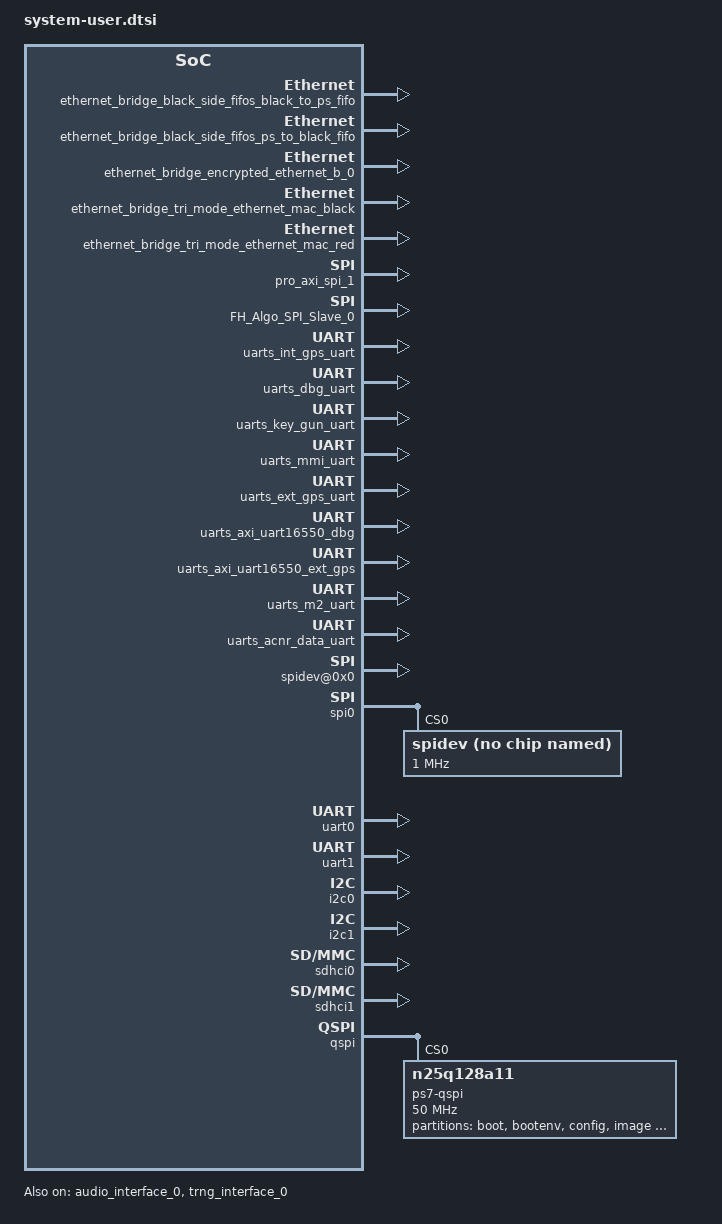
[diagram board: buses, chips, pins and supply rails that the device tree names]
/ {

	chosen {
         	bootargs = "uio_pdrv_genirq.of_id=dmem-uio root=/dev/mmcblk0p2 rw rootwait";
     };

	// generic-uio (for xlnx kernel)
	// for ADI kernel (dmem-uio)

     amba_pl: amba_pl {
			
			audio_interface_0: audio_interface@50000000 {
					compatible = "dmem-uio";
				  	status = "okay";
			};

			ethernet_bridge_black_side_fifos_black_to_ps_fifo: axi_output_fifo_ip@43c00000{
					compatible = "dmem-uio";
					status = "okay";
			};

		       ethernet_bridge_black_side_fifos_ps_to_black_fifo: axi_input_fifo_ip@43c10000 {
			   		compatible = "dmem-uio";
			   		status = "okay";
			};

		       ethernet_bridge_encrypted_ethernet_b_0: encrypted_ethernet_bridge_ip@43c20000 {
					compatible = "dmem-uio";
					status = "okay";
			};

			ethernet_bridge_tri_mode_ethernet_mac_black: tri_mode_ethernet_mac@43c30000 {
					compatible = "dmem-uio";
					interrupts = <0 35 1>;
					status = "okay";
			};

			ethernet_bridge_tri_mode_ethernet_mac_red: tri_mode_ethernet_mac@43c40000 {
					compatible = "dmem-uio";
					interrupts = <0 34 1>;
					status = "okay";
			};
			
			pro_axi_spi_1: pro_axi_spi@48000000 {
					compatible = "dmem-uio";
				  	status = "okay";
			};
			
			/*Clock_and_FH_0: Clock_and_FH@68000000 {
					compatible = "dmem-uio";
				  	status = "okay";
			};*/
			
			FH_Algo_SPI_Slave_0: FH_Algo_SPI_Slave@58000000 {
					compatible = "dmem-uio";
				  	status = "okay";
			};

			trng_interface_0: trng_interface@60000000 {
					compatible = "dmem-uio";
					status = "okay";
			};

			uarts_int_gps_uart: serial@42c00000 {
					interrupts = <0 30 1>;
           				status = "okay";
        		};

			uarts_dbg_uart: serial@42c10000 {
           				status = "okay";
        		};

			uarts_key_gun_uart: serial@42c20000{
					interrupts = <0 29 1>;
           				status = "okay";
        		};
			
			uarts_mmi_uart: serial@42c30000 {
					interrupts = <0 32 1>;
           				status = "okay";
        		};
			
			uarts_ext_gps_uart: serial@42c40000 {
           				status = "okay";
        		};
			
			uarts_axi_uart16550_dbg: serial@43c60000 {
					interrupts = <0 31 4>;
					status = "okay";
			};

			uarts_axi_uart16550_ext_gps: serial@43c50000 {
					interrupts = <0 33 4>;
					status = "okay";
			};

			uarts_m2_uart: serial@43c70000 {
					interrupts = <0 36 4>;
					status = "okay";
			};
			
			uarts_acnr_data_uart: serial@43c80000 {
					interrupts = <0 54 4>;
					status = "okay";
			
			};

			spi_interfaces_axi_quad_spi_nvram: axi_quad_spi@41e10000 {
					is-decoded-cs = <0>;
					interrupts = <0 52 1>;
					status = "okay";
					num-cs = <1>;
							 spidev@0x0{
					 			reg = <0>; 
								status = "okay";
				 				compatible = "rohm,dh2228fv";
								spi-max-frequency = <125000000>;
								   };
			};

			axi_iic_fmc: i2c@41620000 {
					interrupts = <0 55 4>;
			};

			axi_iic_main: i2c@41600000 {
					interrupts = <0 58 4>;
			};

			HDMI_axi_hdmi_dma: axi_dmac@43000000 {
					interrupts = <0 59 4>;
			};
			
     		};
};

&audio_interface_0 {
			compatible = "dmem-uio";
		};

&ethernet_bridge_black_side_fifos_black_to_ps_fifo{
			
			compatible = "dmem-uio";
			};


&ethernet_bridge_black_side_fifos_ps_to_black_fifo{
			
			compatible = "dmem-uio";
			};

&ethernet_bridge_encrypted_ethernet_b_0 {
			
			compatible = "dmem-uio";
			};

&ethernet_bridge_tri_mode_ethernet_mac_black  {
			 
			compatible = "dmem-uio";
			};

&ethernet_bridge_tri_mode_ethernet_mac_red {
			 
			compatible = "dmem-uio";
			};

&pro_axi_spi_1 {
			compatible = "dmem-uio";
			};

/*&Clock_and_FH_0 {
			compatible = "dmem-uio";
			};*/

&FH_Algo_SPI_Slave_0 {
			compatible = "dmem-uio";
			};

&trng_interface_0 {
			compatible = "dmem-uio";
			};

&spi_interfaces_axi_quad_spi_nvram{

			spidev@0x0{
 			reg = <0>; 
			status = "okay";
			compatible = "rohm,dh2228fv";
			spi-max-frequency = <125000000>;}; 
			};

&spi0{
	is-decoded-cs = <0>;
	num-cs = <1>;
	status = "okay";
	spidev@0x00 {
		compatible = "rohm,dh2228fv";
		status = "okay";
		spi-max-frequency = <1000000>;
		reg = <0>;
		};
};

&uarts_int_gps_uart{
		status = "okay";
		};

&uarts_dbg_uart{
		status = "okay";
		};

&uarts_key_gun_uart{
		status = "okay";
		};

&uarts_mmi_uart{
		status = "okay";
		};

&uarts_ext_gps_uart{
		status = "okay";
		};

&uarts_axi_uart16550_dbg{
		status = "okay";
		};

&uarts_axi_uart16550_ext_gps{
		status = "okay";
		};

&uarts_m2_uart{
		status = "okay";
		};

&uarts_acnr_data_uart{
		status = "okay";
		};

&uart0 {
		status = "okay";
		};
&uart1 {
		status = "okay";
		};
&i2c0{
		status = "okay";
		};
&i2c1{
		status = "okay";
		};

&sdhci0 {
	
		status = "okay";
		};

&sdhci1 {
	
		status = "okay";
		};

&GPIOs_axi_gpio_0 {
	status = "disabled";
	};

/*&GPIOs_axi_gpio_0 {
	label = "pps0";
	gpios = <&GPIOs_axi_gpio_0 0 0 0>;
	assert-rising-edge;
	compatible = "pps-gpio";
	status = "okay";
	};*/

&qspi {
	u-boot,dm-pre-reloc;
	is-dual = <0>;
	num-cs = <1>;
	ps7-qspi@0  {
		#address-cells = <0x01>;
		#size-cells = <0x01>;
		compatible = "n25q128a11";
		reg = <0x00>;
		spi-max-frequency = <0x2faf080>;
		ps7-qspi@0 {
				#address-cells = <0x01>;
				#size-cells = <0x01>;
				compatible = "n25q128a11";
				reg = <0x00>;
				spi-max-frequency = <0x2faf080>;

				partition@0 {
					label = "boot";
					reg = <0x00 0x500000>;
				};

				partition@500000 {
					label = "bootenv";
					reg = <0x500000 0x20000>;
				};

				partition@520000 {
					label = "config";
					reg = <0x520000 0x20000>;
				};

				partition@540000 {
					label = "image";
					reg = <0x540000 0xa80000>;
				};

				partition@fc0000 {
					label = "spare";
					reg = <0xfc0000 0x00>;
				};
			};
	};
};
